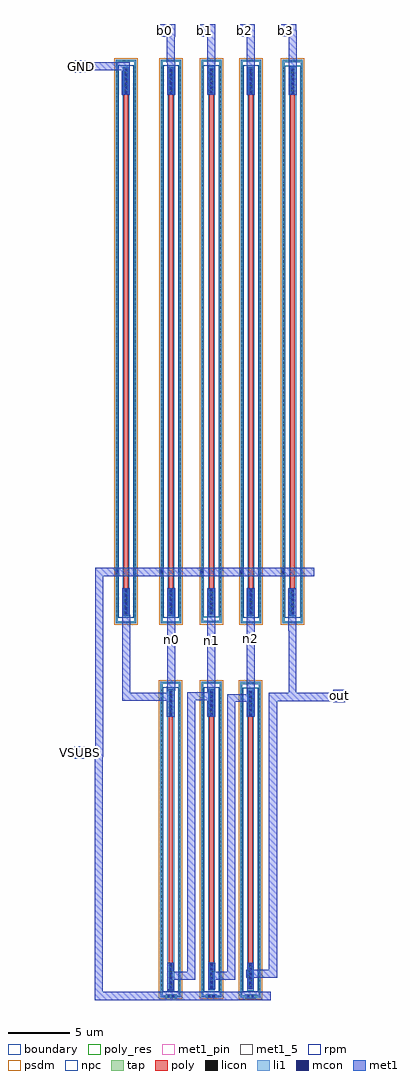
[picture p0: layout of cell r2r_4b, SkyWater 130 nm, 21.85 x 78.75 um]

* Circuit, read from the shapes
.subckt r2r_4b GND VSUBS b0 b1 b2 b3 n0 n1 n2 out
XR1 GND n0 VSUBS sky130_fd_pr__res_high_po w=0.35 l=39.88
XR2 n0 n1 VSUBS sky130_fd_pr__res_high_po w=0.35 l=19.88
XR3 b0 n0 VSUBS sky130_fd_pr__res_high_po w=0.35 l=39.88
XR4 b1 n1 VSUBS sky130_fd_pr__res_high_po w=0.35 l=39.88
XR5 n1 n2 VSUBS sky130_fd_pr__res_high_po w=0.35 l=19.88
XR6 n2 out VSUBS sky130_fd_pr__res_high_po w=0.35 l=19.88
XR7 b2 n2 VSUBS sky130_fd_pr__res_high_po w=0.35 l=39.88
XR8 b3 out VSUBS sky130_fd_pr__res_high_po w=0.35 l=39.88
.ends

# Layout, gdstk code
import gdstk
lib = gdstk.Library(unit=1e-6, precision=1e-09)
def R(c, l, rs):  # rectangles x0, y0, x1, y1
    for r in rs: c.add(gdstk.rectangle(r[:2], r[2:], *l))
def A(c, l, x, y, w, h, nx, ny, dx, dy):  # array of equal rectangles
    R(c, l, [(x+i*dx, y+j*dy, x+i*dx+w, y+j*dy+h) for i in range(nx) for j in range(ny)])
tap = (65, 44)
poly_res = (66, 13)
poly = (66, 20)
licon = (66, 44)
li1 = (67, 20)
mcon = (67, 44)
met1_5 = (68, 5)
met1_pin = (68, 16)
met1 = (68, 20)
rpm = (86, 20)
psdm = (94, 20)
npc = (95, 20)
boundary = (235, 4)

sky130_fd_pr__res_high_p = lib.new_cell('sky130_fd_pr__res_high_po_0p35_QPS5FG')
R(sky130_fd_pr__res_high_p, tap, [(-0.825,-12.73,0.825,-12.56), (-0.825,-12.56,-0.655,12.56), (0.655,-12.56,0.825,12.56), (-0.825,12.56,0.825,12.73)])
R(sky130_fd_pr__res_high_p, poly_res, [(-0.175,-10,0.175,10)])
R(sky130_fd_pr__res_high_p, poly, [(-0.175,-12.08,0.175,12.08)])
A(sky130_fd_pr__res_high_p, licon, -0.825, -12.155, 0.17, 0.17, 1, 72, 0, 0.34)
A(sky130_fd_pr__res_high_p, licon, 0.655, -12.155, 0.17, 0.17, 1, 72, 0, 0.34)
R(sky130_fd_pr__res_high_p, licon, [(-0.255,-12.73,-0.085,-12.56), (0.085,-12.73,0.255,-12.56), (-0.095,-12,0.095,-10), (-0.095,10,0.095,12), (-0.255,12.56,-0.085,12.73), (0.085,12.56,0.255,12.73)])
R(sky130_fd_pr__res_high_p, li1, [(-0.825,-12.73,0.825,-12.56), (-0.825,-12.56,-0.655,12.56), (0.655,-12.56,0.825,12.56), (-0.175,-12.08,0.175,-9.92), (-0.175,9.92,0.175,12.08), (-0.825,12.56,0.825,12.73)])
A(sky130_fd_pr__res_high_p, mcon, -0.085, -11.985, 0.17, 0.17, 1, 6, 0, 0.36)
A(sky130_fd_pr__res_high_p, mcon, -0.085, 10.01, 0.17, 0.17, 1, 6, 0, 0.36)
R(sky130_fd_pr__res_high_p, met1, [(-0.125,-12.05,0.125,-9.945), (-0.125,9.945,0.125,12.05)])
R(sky130_fd_pr__res_high_p, rpm, [(-0.635,-12.28,0.635,12.28)])
R(sky130_fd_pr__res_high_p, psdm, [(-0.95,-12.855,0.95,12.855)])
R(sky130_fd_pr__res_high_p, npc, [(-0.27,-12.175,0.27,12.175)])
R(sky130_fd_pr__res_high_p, boundary, [(-0.74,-12.645,0.74,12.645)])

c_sky130_fd_pr__res_high_p = lib.new_cell('sky130_fd_pr__res_high_po_0p35_3KK54B')
R(c_sky130_fd_pr__res_high_p, tap, [(-0.825,-22.73,0.825,-22.56), (-0.825,-22.56,-0.655,22.56), (0.655,-22.56,0.825,22.56), (-0.825,22.56,0.825,22.73)])
R(c_sky130_fd_pr__res_high_p, poly_res, [(-0.175,-20,0.175,20)])
R(c_sky130_fd_pr__res_high_p, poly, [(-0.175,-22.08,0.175,22.08)])
A(c_sky130_fd_pr__res_high_p, licon, -0.825, -22.185, 0.17, 0.17, 1, 131, 0, 0.34)
A(c_sky130_fd_pr__res_high_p, licon, 0.655, -22.185, 0.17, 0.17, 1, 131, 0, 0.34)
R(c_sky130_fd_pr__res_high_p, licon, [(-0.255,-22.73,-0.085,-22.56), (0.085,-22.73,0.255,-22.56), (-0.095,-22,0.095,-20), (-0.095,20,0.095,22), (-0.255,22.56,-0.085,22.73), (0.085,22.56,0.255,22.73)])
R(c_sky130_fd_pr__res_high_p, li1, [(-0.825,-22.73,0.825,-22.56), (-0.825,-22.56,-0.655,22.56), (0.655,-22.56,0.825,22.56), (-0.175,-22.08,0.175,-19.92), (-0.175,19.92,0.175,22.08), (-0.825,22.56,0.825,22.73)])
A(c_sky130_fd_pr__res_high_p, mcon, -0.085, -21.985, 0.17, 0.17, 1, 6, 0, 0.36)
A(c_sky130_fd_pr__res_high_p, mcon, -0.085, 20.01, 0.17, 0.17, 1, 6, 0, 0.36)
R(c_sky130_fd_pr__res_high_p, met1, [(-0.125,-22.05,0.125,-19.945), (-0.125,19.945,0.125,22.05)])
R(c_sky130_fd_pr__res_high_p, rpm, [(-0.635,-22.28,0.635,22.28)])
R(c_sky130_fd_pr__res_high_p, psdm, [(-0.95,-22.855,0.95,22.855)])
R(c_sky130_fd_pr__res_high_p, npc, [(-0.27,-22.175,0.27,22.175)])
R(c_sky130_fd_pr__res_high_p, boundary, [(-0.74,-22.645,0.74,22.645)])

r2r_4b = lib.new_cell('r2r_4b')
R(r2r_4b, li1, [(-17.09,-40.89,-16.21,-40.6), (-10.68,-40.89,-9.8,-40.6), (-13.85,-40.88,-12.97,-40.59), (-21.15,-6.72,-20.85,-6.28), (-17.55,-6.72,-17.25,-6.28), (-14.31,-6.72,-14.01,-6.28), (-11.12,-6.72,-10.82,-6.28), (-7.74,-6.71,-7.44,-6.27)])
R(r2r_4b, mcon, [(-16.915,-40.83,-16.745,-40.66), (-16.555,-40.83,-16.385,-40.66), (-10.505,-40.83,-10.335,-40.66), (-10.145,-40.83,-9.975,-40.66), (-13.675,-40.82,-13.505,-40.65), (-13.315,-40.82,-13.145,-40.65), (-21.085,-6.585,-20.915,-6.415), (-17.485,-6.585,-17.315,-6.415), (-14.245,-6.585,-14.075,-6.415), (-11.055,-6.585,-10.885,-6.415), (-7.675,-6.575,-7.505,-6.405)])
R(r2r_4b, met1_5, [(-13.72,-16.27,-13.08,-7.82), (-16.97,-16.11,-16.33,-7.84), (-10.53,-15.97,-9.89,-7.81)])
R(r2r_4b, met1_pin, [(-24.44,-21.58,-23.44,-20.58), (-3.59,-17.01,-2.59,-16.01), (-24.41,33.78,-23.41,34.78), (-17.66,36.68,-16.66,37.68), (-14.44,36.68,-13.44,37.68), (-11.24,36.68,-10.24,37.68), (-7.93,36.7,-6.93,37.7)])
R(r2r_4b, met1, [(-22.81,-41.05,-8.62,-40.39), (-22.81,-40.39,-22.15,-21.41), (-16.95,-40.21,-16.44,-39.41), (-10.5,-40.2,-9.97,-39.27), (-13.64,-40.19,-13.11,-40.18), (-13.67,-40.18,-13.11,-39.43), (-13.67,-39.43,-11.48,-38.79), (-16.96,-39.41,-14.7,-38.77), (-10.575,-39.27,-8.1,-38.59), (-13.67,-38.79,-13.11,-38.03), (-12.12,-38.79,-11.48,-17), (-16.95,-38.77,-16.44,-38.06), (-15.34,-38.77,-14.7,-16.85), (-10.5,-38.59,-9.97,-38.05), (-8.78,-38.59,-8.1,-16.94), (-24.44,-21.58,-23.44,-21.41), (-24.44,-21.41,-22.11,-20.75), (-24.44,-20.75,-23.44,-20.58), (-22.77,-20.75,-22.11,-6.84), (-10.56,-18.21,-9.92,-17), (-17.01,-18.18,-16.37,-16.89), (-13.73,-18.18,-13.09,-16.85), (-3.59,-17.01,-2.59,-16.94), (-12.12,-17,-9.92,-16.36), (-8.78,-16.94,-2.59,-16.26), (-20.59,-16.89,-16.37,-16.25), (-15.34,-16.85,-13.09,-16.27), (-10.56,-16.36,-9.92,-15.97), (-15.34,-16.27,-13.08,-16.21), (-7.18,-16.26,-6.55,-11.24), (-3.59,-16.26,-2.59,-16.01), (-20.59,-16.25,-19.95,-10.29), (-17.01,-16.25,-16.37,-16.11), (-13.73,-16.21,-13.08,-15.73), (-17.01,-16.11,-16.33,-15.73), (-10.56,-15.97,-9.89,-15.76), (-10.53,-15.76,-9.89,-7.81), (-16.97,-15.73,-16.33,-7.84), (-13.72,-15.73,-13.08,-12.09), (-13.73,-12.09,-13.08,-11.45), (-13.72,-11.45,-13.08,-7.82), (-7.19,-11.24,-6.55,-7.82), (-20.61,-10.29,-19.95,-9.98), (-20.61,-9.98,-19.97,-7.84), (-22.77,-6.84,-5.11,-6.18), (-20.65,31.99,-19.99,33.95), (-13.74,31.99,-13.09,34.57), (-7.18,31.99,-6.53,36.7), (-16.98,32,-16.33,34.59), (-10.55,32,-9.9,36.68), (-24.41,33.78,-23.41,33.95), (-24.41,33.95,-19.99,34.61), (-13.75,34.57,-13.09,34.58), (-13.75,34.58,-13.1,36.68), (-16.99,34.59,-16.34,36.68), (-24.41,34.61,-23.41,34.78), (-17.66,36.68,-16.34,36.69), (-14.44,36.68,-13.1,37.16), (-11.24,36.68,-9.89,37.68), (-17.66,36.69,-16.33,37.68), (-7.93,36.7,-6.53,37.16), (-14.44,37.16,-13.11,37.68), (-7.93,37.16,-6.54,37.7), (-16.99,37.68,-16.33,37.69)])
r2r_4b.add(gdstk.Reference(sky130_fd_pr__res_high_p, (-16.685,-28.11)))
r2r_4b.add(gdstk.Reference(c_sky130_fd_pr__res_high_p, (-10.215,12.09)))
r2r_4b.add(gdstk.Reference(c_sky130_fd_pr__res_high_p, (-6.845,12.07)))
r2r_4b.add(gdstk.Reference(sky130_fd_pr__res_high_p, (-10.245,-28.12)))
r2r_4b.add(gdstk.Reference(c_sky130_fd_pr__res_high_p, (-20.285,12.08)))
r2r_4b.add(gdstk.Reference(sky130_fd_pr__res_high_p, (-13.395,-28.1)))
r2r_4b.add(gdstk.Reference(c_sky130_fd_pr__res_high_p, (-16.655,12.08)))
r2r_4b.add(gdstk.Reference(c_sky130_fd_pr__res_high_p, (-13.405,12.1)))
r2r_4b.add(gdstk.Label('n0', (-16.65,-11.975), layer=68, texttype=5))
r2r_4b.add(gdstk.Label('n1', (-13.4,-12.045), layer=68, texttype=5))
r2r_4b.add(gdstk.Label('n2', (-10.21,-11.89), layer=68, texttype=5))
r2r_4b.add(gdstk.Label('out', (-3.09,-16.51), layer=68, texttype=5))
r2r_4b.add(gdstk.Label('GND', (-23.91,34.28), layer=68, texttype=5))
r2r_4b.add(gdstk.Label('VSUBS', (-23.94,-21.08), layer=68, texttype=5))
r2r_4b.add(gdstk.Label('b3', (-7.43,37.2), layer=68, texttype=5))
r2r_4b.add(gdstk.Label('b1', (-13.94,37.18), layer=68, texttype=5))
r2r_4b.add(gdstk.Label('b2', (-10.74,37.18), layer=68, texttype=5))
r2r_4b.add(gdstk.Label('b0', (-17.16,37.18), layer=68, texttype=5))

lib.write_gds('r2r_4b.gds')
